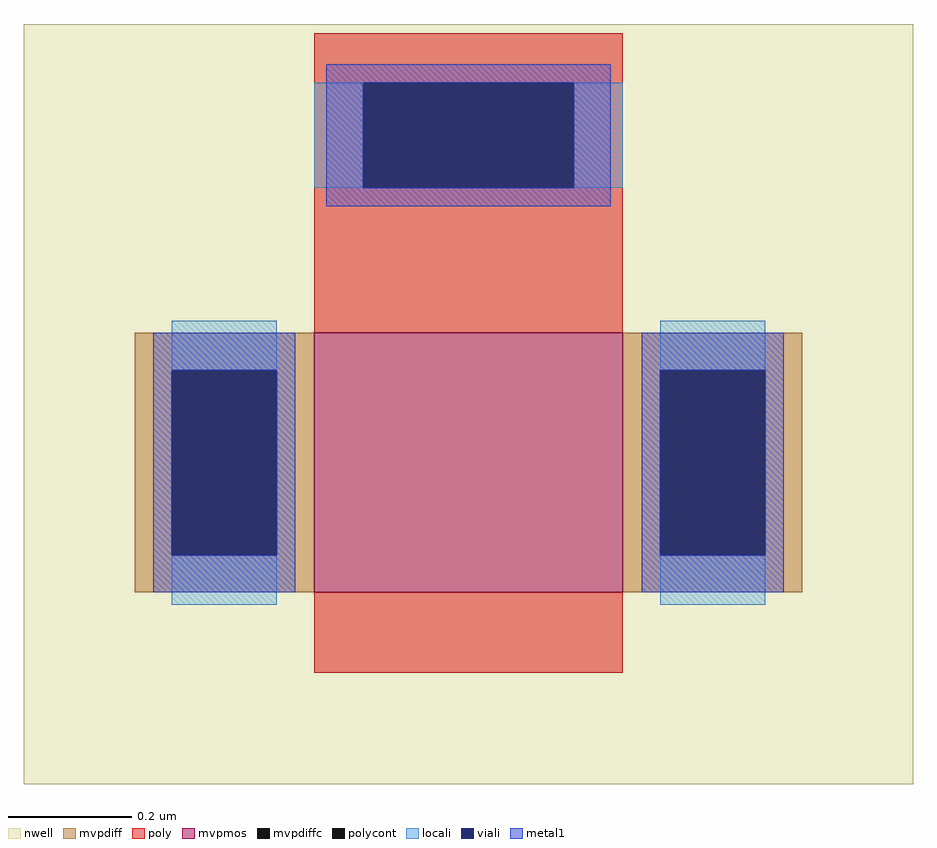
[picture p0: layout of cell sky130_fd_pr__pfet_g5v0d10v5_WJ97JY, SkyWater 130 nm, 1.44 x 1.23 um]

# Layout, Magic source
magic
tech sky130A
magscale 1 2
<< nwell >>
rect -144 -140 144 106
<< mvpmos >>
rect -50 -78 50 6
<< mvpdiff >>
rect -108 -6 -50 6
rect -108 -66 -96 -6
rect -62 -66 -50 -6
rect -108 -78 -50 -66
rect 50 -6 108 6
rect 50 -66 62 -6
rect 96 -66 108 -6
rect 50 -78 108 -66
<< mvpdiffc >>
rect -96 -66 -62 -6
rect 62 -66 96 -6
<< poly >>
rect -50 87 50 103
rect -50 53 -34 87
rect 34 53 50 87
rect -50 6 50 53
rect -50 -104 50 -78
<< polycont >>
rect -34 53 34 87
<< locali >>
rect -50 53 -34 87
rect 34 53 50 87
rect -96 -6 -62 10
rect -96 -82 -62 -66
rect 62 -6 96 10
rect 62 -82 96 -66
<< viali >>
rect -34 53 34 87
rect -96 -66 -62 -6
rect 62 -66 96 -6
<< metal1 >>
rect -46 87 46 93
rect -46 53 -34 87
rect 34 53 46 87
rect -46 47 46 53
rect -102 -6 -56 6
rect -102 -66 -96 -6
rect -62 -66 -56 -6
rect -102 -78 -56 -66
rect 56 -6 102 6
rect 56 -66 62 -6
rect 96 -66 102 -6
rect 56 -78 102 -66
<< properties >>
string gencell sky130_fd_pr__pfet_g5v0d10v5
string library sky130
string parameters w 0.42 l 0.50 m 1 nf 1 diffcov 100 polycov 100 guard 0 glc 1 grc 1 gtc 1 gbc 1 tbcov 100 rlcov 100 topc 1 botc 0 poverlap 0 doverlap 1 lmin 0.50 wmin 0.42 compatible {sky130_fd_pr__pfet_01v8  sky130_fd_pr__pfet_01v8_lvt sky130_fd_pr__pfet_01v8_hvt  sky130_fd_pr__pfet_g5v0d10v5} full_metal 1 viasrc 100 viadrn 100 viagate 100 viagb 0 viagr 0 viagl 0 viagt 0
<< end >>
